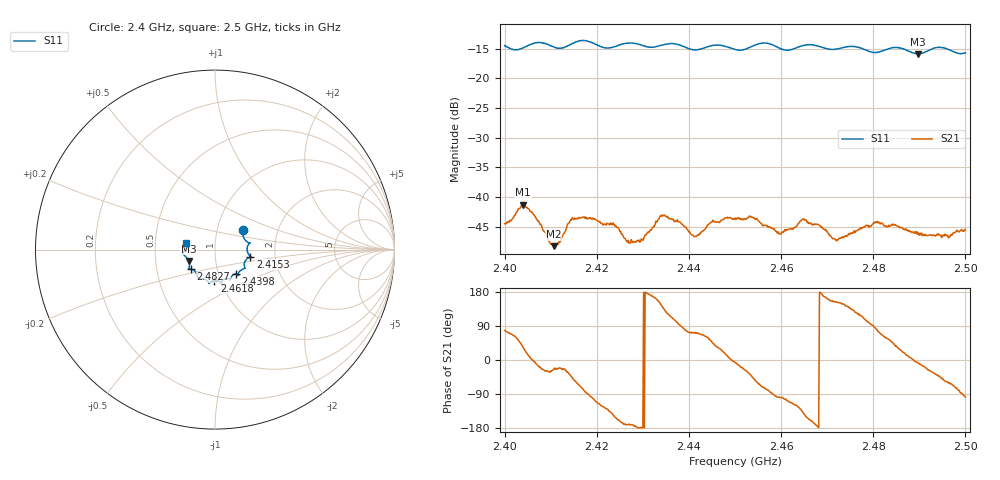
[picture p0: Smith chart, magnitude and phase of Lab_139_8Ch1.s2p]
# Hz S RI R 50
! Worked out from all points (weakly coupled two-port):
!   601 points, 2.4 GHz to 2.5 GHz, reference 50 ohm
!   highest |S21| = -41.30 dB at 2.404 GHz (marker M1); lowest = -48.3 dB at 2.4107 GHz (marker M2)
!   lowest |S11| = -15.9 dB at 2.4897 GHz (marker M3), VSWR 1.38, Z = 36.9 - j4.83 ohm
!   |S11| at or under -10 dB: start of sweep to end of sweep
!   S12 and S22 are empty: the file has one direction only
!   S11 on the Smith chart (normalised r, x): 2.4 GHz: 1.33, +0.29; 2.4153 GHz: 1.49, -0.12; 2.4398 GHz: 1.21, -0.34; 2.4618 GHz: 0.94, -0.33; 2.4827 GHz: 0.75, -0.17; 2.5 GHz: 0.72, +0.06
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2.4e9  0.155 0.1065  0.00122 0.00583  0 0  0 0
2.404e9  0.1735 0.047  0.00713 0.00483  0 0  0 0
2.410667e9  0.1818 0.0193  0.00353 -0.00156  0 0  0 0
2.415333e9  0.1973 -0.0391  0.00371 -0.00536  0 0  0 0
2.416667e9  0.203 -0.0433  0.00202 -0.00642  0 0  0 0
2.4235e9  0.1627 -0.0825  -0.00497 -0.00347  0 0  0 0
2.4275e9  0.1681 -0.1043  -0.00433 -0.000706  0 0  0 0
2.429833e9  0.1545 -0.1095  -0.00442 -5.44e-05  0 0  0 0
2.433333e9  0.1295 -0.1339  -0.0059 0.00266  0 0  0 0
2.439833e9  0.1152 -0.1357  0.00148 0.00498  0 0  0 0
2.441667e9  0.098 -0.1432  0.00142 0.00445  0 0  0 0
2.444833e9  0.0841 -0.1677  0.00393 0.00469  0 0  0 0
2.45e9  0.0655 -0.162  0.00662 -0.000795  0 0  0 0
2.456333e9  0.039 -0.1941  0.00174 -0.00555  0 0  0 0
2.461833e9  -0.00324 -0.1728  -0.002 -0.00501  0 0  0 0
2.466667e9  -0.0349 -0.1881  -0.00557 -0.00188  0 0  0 0
2.472e9  -0.0701 -0.1611  -0.00383 0.00189  0 0  0 0
2.4805e9  -0.1139 -0.1185  0.000702 0.00614  0 0  0 0
2.482667e9  -0.1349 -0.1088  0.00291 0.00496  0 0  0 0
2.483333e9  -0.14 -0.1084  0.00338 0.0047  0 0  0 0
2.489667e9  -0.1472 -0.0638  0.00481 -0.00058  0 0  0 0
2.5e9  -0.1591 0.0389  -0.000709 -0.00531  0 0  0 0
